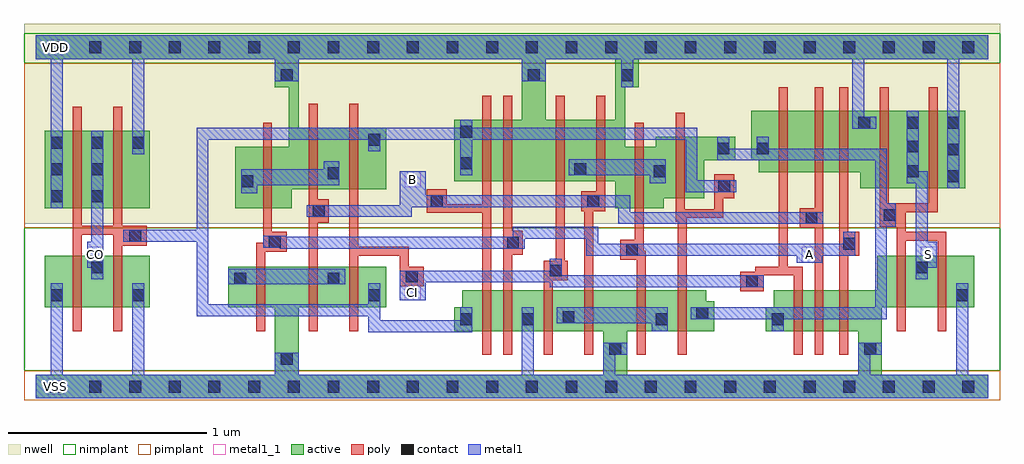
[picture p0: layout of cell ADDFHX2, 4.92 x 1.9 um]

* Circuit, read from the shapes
.subckt ADDFHX2 A B CI CO S VDD VSS
M1 CO n1 VSS VSS nfet w=0.26u l=0.045u m=2
M2 VSS A n2 VSS nfet w=0.205u l=0.045u
M3 n2 B VSS VSS nfet w=0.205u l=0.045u
M4 n1 CI n2 VSS nfet w=0.205u l=0.045u
M5 n3 B n1 VSS nfet w=0.205u l=0.045u
M6 VSS A n3 VSS nfet w=0.205u l=0.045u
M7 n4 CI VSS VSS nfet w=0.205u l=0.045u
M8 VSS B n4 VSS nfet w=0.205u l=0.045u
M9 n4 A VSS VSS nfet w=0.205u l=0.045u
M10 n5 n1 n4 VSS nfet w=0.205u l=0.045u
M11 n6 CI n5 VSS nfet w=0.205u l=0.045u
M12 n7 B n6 VSS nfet w=0.205u l=0.045u
M13 VSS A n7 VSS nfet w=0.205u l=0.045u
M14 S n5 VSS VSS nfet w=0.26u l=0.045u m=2
M15 CO n1 VDD VDD pfet w=0.39u l=0.045u m=2
M16 VDD A n8 VDD pfet w=0.31u l=0.045u
M17 n8 B VDD VDD pfet w=0.31u l=0.045u
M18 n1 CI n8 VDD pfet w=0.31u l=0.045u
M19 n9 B n1 VDD pfet w=0.31u l=0.045u
M20 VDD A n9 VDD pfet w=0.31u l=0.045u
M21 n10 CI VDD VDD pfet w=0.31u l=0.045u
M22 VDD B n10 VDD pfet w=0.31u l=0.045u
M23 n10 A VDD VDD pfet w=0.31u l=0.045u
M24 n5 n1 n10 VDD pfet w=0.31u l=0.045u
M25 n11 CI n5 VDD pfet w=0.31u l=0.045u
M26 n12 B n11 VDD pfet w=0.31u l=0.045u
M27 VDD A n12 VDD pfet w=0.31u l=0.045u
M28 S n5 VDD VDD pfet w=0.39u l=0.045u m=2
.ends

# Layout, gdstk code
import gdstk
lib = gdstk.Library(unit=1e-6, precision=5e-10)
def R(c, l, rs):  # rectangles x0, y0, x1, y1
    for r in rs: c.add(gdstk.rectangle(r[:2], r[2:], *l))
def A(c, l, x, y, w, h, nx, ny, dx, dy):  # array of equal rectangles
    R(c, l, [(x+i*dx, y+j*dy, x+i*dx+w, y+j*dy+h) for i in range(nx) for j in range(ny)])
def P(c, l, *ps):  # polygons
    for p in ps: c.add(gdstk.Polygon(p, *l))
active = (1, 0)
nwell = (2, 0)
poly = (3, 0)
nimplant = (4, 0)
pimplant = (5, 0)
contact = (6, 0)
metal1 = (7, 0)
metal1_1 = (7, 1)

addfhx2 = lib.new_cell('ADDFHX2')
R(addfhx2, active, [(0.045,0.4,0.575,0.66), (0.045,0.9,0.575,1.29)])
P(addfhx2, active, [(0,1.77),(4.8,1.77),(4.8,1.65),(3.04,1.65),(3.04,1.51),(2.97,1.51),(2.97,1.21),(3.125,1.21),(3.125,1.26),(3.525,1.26),(3.525,1.14),(3.37,1.14),(3.37,0.95),(3.165,0.95),(3.165,0.9),(2.92,0.9),(2.92,1.035),(2.11,1.035),(2.11,1.345),(2.45,1.345),(2.45,1.65),(2.57,1.65),(2.57,1.345),(2.92,1.345),(2.92,1.65),(1.325,1.65),(1.325,1.305),(1.765,1.305),(1.765,0.995),(1.29,0.995),(1.29,0.9),(1.005,0.9),(1.005,1.21),(1.275,1.21),(1.275,1.51),(1.205,1.51),(1.205,1.65),(0,1.65)],
  [(3.605,1.39),(4.685,1.39),(4.685,1),(4.155,1),(4.155,1.08),(3.645,1.08),(3.645,1.14),(3.605,1.14)],
  [(0.97,0.605),(1.765,0.605),(1.765,0.4),(1.325,0.4),(1.325,0.06),(2.86,0.06),(2.86,0.28),(2.11,0.28),(2.11,0.4),(2.15,0.4),(2.15,0.485),(3.38,0.485),(3.38,0.43),(3.42,0.43),(3.42,0.28),(2.98,0.28),(2.98,0.06),(4.145,0.06),(4.145,0.28),(3.68,0.28),(3.68,0.4),(3.72,0.4),(3.72,0.485),(4.24,0.485),(4.24,0.66),(4.73,0.66),(4.73,0.4),(4.265,0.4),(4.265,0.06),(4.8,0.06),(4.8,-0.06),(0,-0.06),(0,0.06),(1.205,0.06),(1.205,0.4),(0.97,0.4)])
R(addfhx2, nwell, [(-0.06,0.82,4.86,1.83)])
P(addfhx2, poly, [(0.185,1.41),(0.23,1.41),(0.23,0.81),(0.39,0.81),(0.39,1.41),(0.435,1.41),(0.435,0.81),(0.56,0.81),(0.56,0.71),(0.435,0.71),(0.435,0.28),(0.39,0.28),(0.39,0.765),(0.23,0.765),(0.23,0.28),(0.185,0.28)],
  [(1.145,1.33),(1.19,1.33),(1.19,0.78),(1.265,0.78),(1.265,0.68),(1.155,0.68),(1.155,0.28),(1.11,0.28),(1.11,0.725),(1.145,0.725)],
  [(1.375,1.425),(1.42,1.425),(1.42,0.945),(1.475,0.945),(1.475,0.825),(1.42,0.825),(1.42,0.28),(1.375,0.28)],
  [(1.58,1.425),(1.625,1.425),(1.625,0.705),(1.88,0.705),(1.88,0.605),(1.955,0.605),(1.955,0.505),(1.835,0.505),(1.835,0.66),(1.625,0.66),(1.625,0.28),(1.58,0.28)],
  [(1.97,0.995),(2.07,0.995),(2.07,0.92),(2.25,0.92),(2.25,1.465),(2.295,1.465),(2.295,0.16),(2.25,0.16),(2.25,0.875),(1.97,0.875)],
  [(2.355,1.465),(2.4,1.465),(2.4,0.785),(2.455,0.785),(2.455,0.665),(2.4,0.665),(2.4,0.16),(2.355,0.16)],
  [(2.62,1.465),(2.665,1.465),(2.665,0.635),(2.68,0.635),(2.68,0.535),(2.605,0.535),(2.605,0.16),(2.56,0.16),(2.56,0.635),(2.62,0.635)],
  [(2.825,1.465),(2.87,1.465),(2.87,0.885),(2.81,0.885),(2.81,0.16),(2.765,0.16),(2.765,0.885),(2.75,0.885),(2.75,0.985),(2.825,0.985)],
  [(3.02,1.33),(3.065,1.33),(3.065,0.685),(3.075,0.685),(3.075,0.16),(3.03,0.16),(3.03,0.64),(2.945,0.64),(2.945,0.74),(3.02,0.74)],
  [(3.225,1.38),(3.27,1.38),(3.27,0.895),(3.42,0.895),(3.42,1.07),(3.52,1.07),(3.52,0.95),(3.465,0.95),(3.465,0.85),(3.28,0.85),(3.28,0.16),(3.235,0.16),(3.235,0.83),(3.225,0.83)],
  [(3.745,1.51),(3.79,1.51),(3.79,0.605),(3.865,0.605),(3.865,0.16),(3.82,0.16),(3.82,0.56),(3.67,0.56),(3.67,0.48),(3.55,0.48),(3.55,0.58),(3.625,0.58),(3.625,0.605),(3.745,0.605)],
  [(3.925,1.51),(3.97,1.51),(3.97,0.16),(3.925,0.16),(3.925,0.8),(3.85,0.8),(3.85,0.9),(3.925,0.9)],
  [(4.05,1.51),(4.095,1.51),(4.095,0.78),(4.15,0.78),(4.15,0.66),(4.095,0.66),(4.095,0.16),(4.05,0.16)],
  [(4.255,1.51),(4.3,1.51),(4.3,0.925),(4.5,0.925),(4.5,1.51),(4.545,1.51),(4.545,0.88),(4.385,0.88),(4.385,0.78),(4.59,0.78),(4.59,0.28),(4.545,0.28),(4.545,0.735),(4.385,0.735),(4.385,0.28),(4.34,0.28),(4.34,0.805),(4.255,0.805)])
R(addfhx2, nimplant, [(-0.06,0.08,4.86,0.8), (-0.06,1.63,4.86,1.78)])
R(addfhx2, pimplant, [(-0.06,-0.07,4.86,0.08), (-0.06,0.8,4.86,1.63)])
A(addfhx2, contact, 0.07, -0.03, 0.06, 0.06, 24, 2, 0.2, 1.71)
A(addfhx2, contact, 4.595, 1.03, 0.06, 0.06, 1, 3, 0, 0.135)
A(addfhx2, contact, 0.075, 1.2, 0.06, 0.06, 3, 1, 0.205, 0)
R(addfhx2, contact, [(1.235,0.11,1.295,0.17), (2.89,0.16,2.95,0.22), (4.175,0.16,4.235,0.22), (2.14,0.31,2.2,0.37), (2.45,0.31,2.51,0.37), (3.125,0.31,3.185,0.37), (3.71,0.31,3.77,0.37), (2.655,0.32,2.715,0.38), (3.33,0.34,3.39,0.4), (0.075,0.43,0.135,0.49), (0.485,0.43,0.545,0.49), (1.675,0.43,1.735,0.49), (4.64,0.43,4.7,0.49), (3.58,0.5,3.64,0.56), (1,0.515,1.06,0.575), (1.47,0.515,1.53,0.575), (1.865,0.525,1.925,0.585), (2.59,0.555,2.65,0.615), (0.28,0.57,0.34,0.63), (4.435,0.57,4.495,0.63), (2.975,0.66,3.035,0.72), (4.07,0.69,4.13,0.75), (2.375,0.695,2.435,0.755), (1.175,0.7,1.235,0.76), (0.47,0.73,0.53,0.79), (3.88,0.82,3.94,0.88), (4.275,0.835,4.335,0.895), (1.395,0.855,1.455,0.915), (1.99,0.905,2.05,0.965), (2.78,0.905,2.84,0.965), (0.075,0.93,0.135,0.99), (0.28,0.93,0.34,0.99), (3.44,0.98,3.5,1.04), (1.035,1.005,1.095,1.065), (1.47,1.045,1.53,1.105), (3.115,1.055,3.175,1.115), (4.39,1.055,4.45,1.115), (0.075,1.065,0.135,1.125), (0.28,1.065,0.34,1.125), (2.715,1.065,2.775,1.125), (2.14,1.095,2.2,1.155), (3.435,1.17,3.495,1.23), (3.635,1.17,3.695,1.23), (4.39,1.18,4.45,1.24), (1.675,1.215,1.735,1.275), (2.14,1.255,2.2,1.315), (4.145,1.3,4.205,1.36), (4.39,1.3,4.45,1.36), (1.235,1.54,1.295,1.6), (2.48,1.54,2.54,1.6), (2.95,1.54,3.01,1.6)])
R(addfhx2, metal1, [(0.97,0.515,1.56,0.595)])
P(addfhx2, metal1, [(0,1.77),(4.8,1.77),(4.8,1.65),(4.655,1.65),(4.655,1),(4.595,1),(4.595,1.65),(4.175,1.65),(4.175,1.36),(4.235,1.36),(4.235,1.3),(4.115,1.3),(4.115,1.65),(3.01,1.65),(3.01,1.51),(2.95,1.51),(2.95,1.65),(2.57,1.65),(2.57,1.54),(2.45,1.54),(2.45,1.65),(1.325,1.65),(1.325,1.54),(1.205,1.54),(1.205,1.65),(0.545,1.65),(0.545,1.17),(0.485,1.17),(0.485,1.65),(0.135,1.65),(0.135,0.9),(0.075,0.9),(0.075,1.65),(0,1.65)],
  [(0.28,1.29),(0.34,1.29),(0.34,0.54),(0.28,0.54),(0.28,0.6),(0.26,0.6),(0.26,0.73),(0.28,0.73)],
  [(2.14,1.345),(2.2,1.345),(2.2,1.305),(3.335,1.305),(3.335,1.04),(3.53,1.04),(3.53,0.98),(3.275,0.98),(3.275,1.245),(2.2,1.245),(2.2,1.065),(2.14,1.065),(2.14,1.245),(1.735,1.245),(1.735,1.185),(1.675,1.185),(1.675,1.245),(0.87,1.245),(0.87,0.415),(1.675,0.415),(1.675,0.52),(1.735,0.52),(1.735,0.335),(2.14,0.335),(2.14,0.4),(2.2,0.4),(2.2,0.275),(1.675,0.275),(1.675,0.355),(0.81,0.355),(0.81,0.73),(0.44,0.73),(0.44,0.79),(0.81,0.79),(0.81,1.305),(2.14,1.305)],
  [(1.45,1.135),(1.53,1.135),(1.53,1.015),(1.115,1.015),(1.115,0.975),(1.035,0.975),(1.035,1.095),(1.45,1.095)],
  [(3.435,1.26),(3.495,1.26),(3.495,1.2),(3.635,1.2),(3.635,1.26),(3.695,1.26),(3.695,1.2),(4.29,1.2),(4.29,0.925),(4.335,0.925),(4.335,0.805),(4.29,0.805),(4.29,0.34),(3.77,0.34),(3.77,0.28),(3.71,0.28),(3.71,0.34),(3.3,0.34),(3.3,0.4),(4.23,0.4),(4.23,1.14),(3.435,1.14)],
  [(2.685,1.145),(3.175,1.145),(3.175,1.025),(3.095,1.025),(3.095,1.065),(2.685,1.065)],
  [(1.835,1.085),(1.965,1.085),(1.965,0.965),(2.995,0.965),(2.995,0.88),(3.97,0.88),(3.97,0.82),(2.935,0.82),(2.935,0.905),(1.895,0.905),(1.895,0.855),(1.365,0.855),(1.365,0.915),(1.835,0.915)],
  [(4.39,1.39),(4.45,1.39),(4.45,1.085),(4.495,1.085),(4.495,0.73),(4.54,0.73),(4.54,0.6),(4.495,0.6),(4.495,0.54),(4.435,0.54),(4.435,1.025),(4.39,1.025)],
  [(1.145,0.76),(1.265,0.76),(1.265,0.755),(2.405,0.755),(2.405,0.805),(2.835,0.805),(2.835,0.72),(4.07,0.72),(4.07,0.78),(4.13,0.78),(4.13,0.66),(3.965,0.66),(3.965,0.625),(3.835,0.625),(3.835,0.66),(2.775,0.66),(2.775,0.745),(2.465,0.745),(2.465,0.695),(1.23,0.695),(1.23,0.7),(1.145,0.7)],
  [(0.075,0.52),(0.135,0.52),(0.135,0.06),(0.485,0.06),(0.485,0.52),(0.545,0.52),(0.545,0.06),(1.205,0.06),(1.205,0.17),(1.325,0.17),(1.325,0.06),(2.45,0.06),(2.45,0.4),(2.51,0.4),(2.51,0.06),(2.86,0.06),(2.86,0.22),(2.98,0.22),(2.98,0.16),(2.92,0.16),(2.92,0.06),(4.145,0.06),(4.145,0.22),(4.265,0.22),(4.265,0.16),(4.205,0.16),(4.205,0.06),(4.64,0.06),(4.64,0.52),(4.7,0.52),(4.7,0.06),(4.8,0.06),(4.8,-0.06),(0,-0.06),(0,0.06),(0.075,0.06)],
  [(2.59,0.645),(2.65,0.645),(2.65,0.56),(3.67,0.56),(3.67,0.5),(2.59,0.5),(2.59,0.525),(1.965,0.525),(1.965,0.435),(1.835,0.435),(1.835,0.585),(2.59,0.585)],
  [(2.625,0.4),(3.185,0.4),(3.185,0.28),(3.105,0.28),(3.105,0.32),(2.625,0.32)])
R(addfhx2, metal1_1, [(0.06,-0.04,0.14,0.04), (1.86,0.435,1.94,0.515), (0.26,0.625,0.34,0.705), (3.86,0.625,3.94,0.705), (4.46,0.625,4.54,0.705), (1.86,1.005,1.94,1.085), (0.06,1.67,0.14,1.75)])
addfhx2.add(gdstk.Label('S', (4.5,0.665), layer=7, texttype=1))
addfhx2.add(gdstk.Label('CO', (0.3,0.665), layer=7, texttype=1))
addfhx2.add(gdstk.Label('B', (1.9,1.045), layer=7, texttype=1))
addfhx2.add(gdstk.Label('A', (3.9,0.665), layer=7, texttype=1))
addfhx2.add(gdstk.Label('CI', (1.9,0.475), layer=7, texttype=1))
addfhx2.add(gdstk.Label('VDD', (0.1,1.71), layer=7, texttype=1))
addfhx2.add(gdstk.Label('VSS', (0.1,0), layer=7, texttype=1))
addfhx2.add(gdstk.Label('ADDFHX2', (0,0), layer=63, texttype=0))

lib.write_gds('ADDFHX2.gds')
